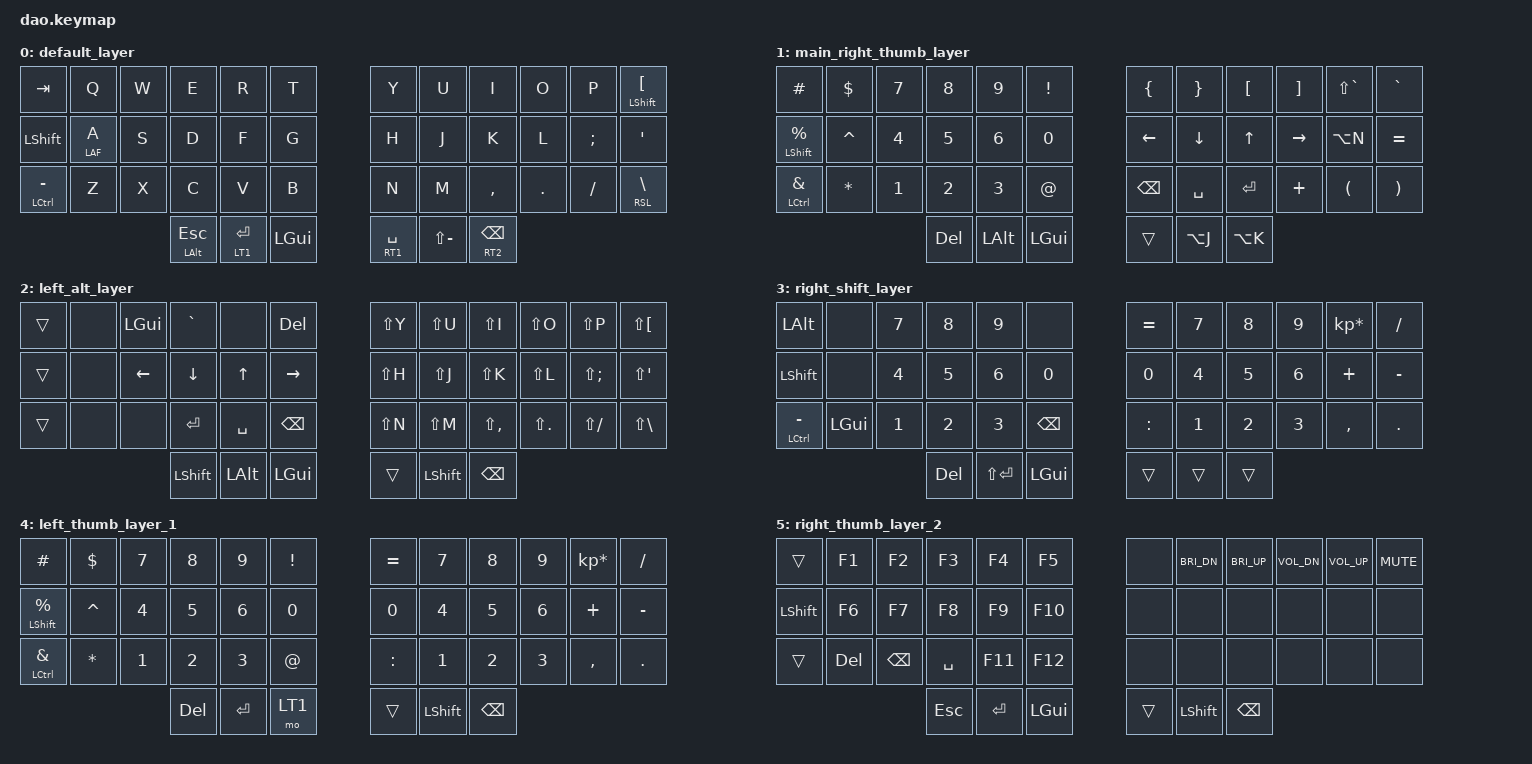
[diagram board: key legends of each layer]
/*
 * Copyright (c) 2021 Rafael Yumagulov
 *
 * SPDX-License-Identifier: MIT
 * TODO: Клики мыши не сработали почему то - &mkp LCLK   &mkp RCLK  . Похоже просто надо include нужный добавить
 */

#include <behaviors.dtsi>
#include <dt-bindings/zmk/keys.h>
#include <dt-bindings/zmk/bt.h>

#define DEF 0
#define RT1 1
#define LAF 2
#define RSL 3
#define LT1 4
#define RT2 5

&lt { quick_tap_ms = <200>; };
&mt { quick_tap_ms = <200>; };

/ {
    chosen {
        zmk,matrix_transform = &default_transform;
        // zmk,matrix_transform = &extra_keys_transform;
    };
};

/ {
        keymap {
                compatible = "zmk,keymap";

                default_layer {
                        /** Добавил CTRL, SHFT, ALT на правую сторону - активно пользуюсь RSHFT  */
                        /** Эксперимент с &mt LALT TAB - пока очень нравится  */
                        /** TODO: попробовать все таки вернуть &lt LT1 ENTER но установить меньше задержку. 
                                Да и в целом надо попробовать меньше задержку установить для многих клавиш. Все таки использвать клавишу F было прям удобно 
                            UPD: отказаался от &lt RT2 ENTER - так как на правом thumb появилось много функциональности и начал путаться. 
                                 Поэтому сейчас вообще координально убрал &lt RT2 ENTER заменив на -> &lt RT2 AMPS for . in Russion. Ну и вернул &mo LT1 -> &lt LT1 ENTER
                                 Вообще подумал, что можно базовые стрелки вынести на слой, который буду нажимать левым мизинцем. Там есть Shift. Поэтому можно либо A, либо Ctrl
                        - &mt LSHFT CARET for , in Russian
                        - &lt RT2 AMPS for . in Russian
                        - experiment &lt { quick_tap_ms = <100>; } LSHFT CARET - не сработал похоже
                        */
                        bindings = <
&kp TAB            &kp Q        &kp W        &kp E        &kp R        &kp T                &kp Y   &kp U    &kp I        &kp O        &kp P           &mt LSHFT LBKT
&kp LSHFT          &lt LAF A    &kp S        &kp D        &kp F        &kp G                &kp H   &kp J    &kp K        &kp L        &kp SEMI        &kp SQT
&mt LCTRL MINUS    &kp Z        &kp X        &kp C        &kp V        &kp B                &kp N   &kp M    &kp COMMA    &kp DOT      &kp FSLH        &lt RSL BSLH
                                        &mt LALT ESC   &lt LT1 ENTER   &kp LGUI           &lt RT1 SPC   &kp LS(MINUS)   &lt RT2 BSPC
                        >;
                };
                main_right_thumb_layer {
                        /**
                        1
                        RT1
                        По сути один из главных слоев
                        TODO:
                        - На самом деле на правом мизинце 3 свободных клавиши еще!!
                        - Да и на левой руке полно места!!!

                                                                                                                                                                                |
                        */
                        bindings = <
&kp HASH          &kp DLLR    &kp N7    &kp N8     &kp N9        &kp EXCL            &kp LBRC    &kp RBRC     &kp LBKT   &kp RBKT    &kp LS(GRAVE)     &kp GRAVE
&mt LSHFT PRCNT   &kp CARET   &kp N4    &kp N5     &kp N6        &kp N0              &kp LEFT    &kp DOWN     &kp UP     &kp RIGHT   &kp LA(N)         &kp EQUAL
&mt LCTRL AMPS    &kp ASTRK   &kp N1    &kp N2     &kp N3        &kp AT              &kp BSPC    &kp SPC      &kp ENTER  &kp PLUS    &kp LPAR          &kp RPAR
                                   &kp DEL     &kp LALT   &kp LGUI            &trans      &kp LA(J)    &kp LA(K) /*TODO: добавить сюда ALT+J, ALT+K , которые должны означать хэ. */
                                                                                                                                                                                /**/
                        >;
                };
                left_alt_layer {
                        /**
                        2 LAF
                        Управляющие кнопки и движение мышью
                        TODO: Сюда можно вынести Ctrl, Alt, Shift, Cmd на обе стороны
                        - &kp LGUI   &kp GRAVE - для переключения между окнами ОДНОЙ рукой.
                        сейчас добавил сюда левый верхний мизинец. Надо бы это разнести
                                                                                                                                                                                |
                        */
                        bindings = <
&trans      &none       &kp LGUI     &kp GRAVE    &none       &kp DEL             &kp LS(Y)   &kp LS(U)    &kp LS(I)        &kp LS(O)        &kp LS(P)           &kp LS(LBKT)
&trans      &none       &kp LEFT     &kp DOWN     &kp UP      &kp RIGHT           &kp LS(H)   &kp LS(J)    &kp LS(K)        &kp LS(L)        &kp LS(SEMI)        &kp LS(SQT)
&trans      &none       &none        &kp ENTER    &kp SPC     &kp BSPC            &kp LS(N)   &kp LS(M)    &kp LS(COMMA)    &kp LS(DOT)      &kp LS(FSLH)        &kp LS(BSLH)
                                     &kp LSHFT    &kp LALT    &kp LGUI            &trans      &kp LSHFT    &kp BSPC
                                                                                                                                                                                /**/
                        >;
                };
                right_shift_layer {
                        /**
                        3 RSL
                        Цифры, цифры
                        На самом деле тут левые цифры можно убрать. А сюда например F вынести
                        
                                                                                                                                                                                |
                        */
                        bindings = <
&kp LALT           &none      &kp N7    &kp N8     &kp N9      &none             &kp EQUAL    &kp N7      &kp N8     &kp N9      &kp KP_ASTERISK    &kp SLASH
&kp LSHFT          &none      &kp N4    &kp N5     &kp N6      &kp N0            &kp N0       &kp N4      &kp N5     &kp N6      &kp PLUS           &kp MINUS
&mt LCTRL MINUS    &kp LGUI   &kp N1    &kp N2     &kp N3      &kp BSPC          &kp COLON    &kp N1      &kp N2     &kp N3      &kp COMMA          &kp DOT
                                   &kp DEL     &kp LS(ENTER)   &kp LGUI          &trans     &trans       &trans
                                                                                                                                                                                /**/
                        >;
                };
                left_thumb_layer_1 {
                        /** 
                        4 LT1
                        Цифры, цифры
                                                                                                                                                                                |
                         */
                        bindings = <
&kp HASH          &kp DLLR    &kp N7    &kp N8     &kp N9        &kp EXCL            &kp EQUAL    &kp N7      &kp N8     &kp N9      &kp KP_ASTERISK   &kp SLASH
&mt LSHFT PRCNT   &kp CARET   &kp N4    &kp N5     &kp N6        &kp N0              &kp N0       &kp N4      &kp N5     &kp N6      &kp PLUS          &kp MINUS
&mt LCTRL AMPS    &kp ASTRK   &kp N1    &kp N2     &kp N3        &kp AT              &kp COLON    &kp N1      &kp N2     &kp N3      &kp COMMA         &kp DOT
                                  &kp DEL    &kp ENTER   &mo LT1          &trans       &kp LSHFT   &kp BSPC
                                                                                                                                                                                /**/
                        >;
                };
                right_thumb_layer_2 {
                        /** 
                        5 RT2
                        Можно сюда управление мышью вынести.
                        Тут важно иметь Ctrl, Alt, Shift, Cmd, чтобы нажимать их с F.. И в целом они есть, коме Cmd
                                                                                                                                                                                |
                        */
                        bindings = <
&trans       &kp F1     &kp F2    &kp F3   &kp F4   &kp F5                       &none      &kp C_BRI_DN   &kp C_BRI_UP   &kp C_VOL_DN   &kp C_VOL_UP   &kp C_MUTE
&kp LSHFT    &kp F6     &kp F7    &kp F8   &kp F9   &kp F10                      &none      &none       &none      &none          &none       &none
&trans       &kp DEL    &kp BSPC  &kp SPC  &kp F11  &kp F12                      &none      &none       &none      &none          &none       &none
                               &kp ESC   &kp ENTER     &kp LGUI            &trans    &kp LSHFT     &kp BSPC
                                                                                                                                                                                /**/
                        >;
                };
        };
};
